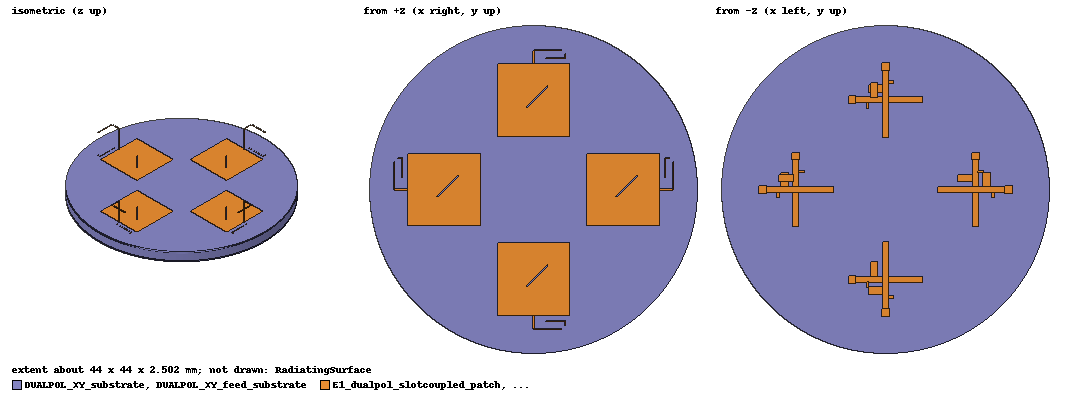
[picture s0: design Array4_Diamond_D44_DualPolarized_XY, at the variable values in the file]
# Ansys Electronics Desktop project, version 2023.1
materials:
  vacuum: permittivity=1
  RO4350B_custom_D44_Topology: permittivity=3.48 permeability=1 dielectric_loss_tangent=0.0037
  copper: permeability=0.999991 conductivity=58000000
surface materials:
  Steel-oxidised-surface

design Array4_Diamond_D44_DualPolarized_XY (HFSS, HFSS Modal Network, model units mm)
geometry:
  DUALPOL_XY_substrate [RO4350B_custom_D44_Topology] = cylinder(axis=Z, base_centre=(0mm, 0mm, 0mm), radius=22mm, height=2mm, segments=128)
  DUALPOL_XY_feed_substrate [RO4350B_custom_D44_Topology] = cylinder(axis=Z, base_centre=(0mm, 0mm, -0.254mm), radius=22mm, height=0.254mm, segments=128)
  DUALPOL_XY_bottom_ground [copper] = circle(normal=Z, centre=(0mm, 0mm, 0mm), radius=21.4mm, segments=128)
  ground_isolation_slot_1 = polyline(z=0mm, xy in mm: (2.7400388, 2.35113) (10.871767, 10.482858) (10.482858, 10.871767) (2.35113, 2.7400388) (2.7400388, 2.35113), closed, covered)
  ground_isolation_slot_2 = polyline(z=0mm, xy in mm: (-2.35113, 2.7400388) (-10.482858, 10.871767) (-10.871767, 10.482858) (-2.7400388, 2.35113) (-2.35113, 2.7400388), closed, covered)
  ground_isolation_slot_3 = polyline(z=0mm, xy in mm: (-2.7400388, -2.35113) (-10.871767, -10.482858) (-10.482858, -10.871767) (-2.35113, -2.7400388) (-2.7400388, -2.35113), closed, covered)
  ground_isolation_slot_4 = polyline(z=0mm, xy in mm: (2.35113, -2.7400388) (10.482858, -10.871767) (10.871767, -10.482858) (2.7400388, -2.35113) (2.35113, -2.7400388), closed, covered)
  E1_dualpol_slotcoupled_patch [copper] = polyline(z=2mm, xy in mm: (7.1458153, -4.875) (16.895815, -4.875) (16.895815, 4.875) (7.1458153, 4.875) (7.1458153, -4.875), closed, covered)
  E1_slotcoupled_patch_decoupling_slit = polyline(z=2mm, xy in mm: (11.099028, -1.00664) (13.927455, 1.8217872) (13.842602, 1.90664) (11.014175, -0.92178716) (11.099028, -1.00664), closed, covered)
  E1_dualpol_slotcoupled_patch.subtract(E1_slotcoupled_patch_decoupling_slit)
  E1_slotcoupled_folded_edge_riser [copper] = polyline(x=16.835815mm, yz in mm: (-0.1, 2) (0.1, 2) (0.1, 6.8) (-0.1, 6.8) (-0.1, 2), closed, covered)
  E1_slotcoupled_folded_edge_radial_arm [copper] = polyline(z=6.8mm, xy in mm: (16.835815, -0.1) (18.695815, -0.1) (18.695815, 0.1) (16.835815, 0.1) (16.835815, -0.1), closed, covered)
  E1_slotcoupled_folded_edge_tangent_arm [copper] = polyline(z=6.8mm, xy in mm: (18.595815, 0) (18.795815, 0) (18.795815, 3.8) (18.595815, 3.8) (18.595815, 0), closed, covered)
  E1_slotcoupled_a_aperture = polyline(z=0mm, xy in mm: (11.670815, -2.8) (12.370815, -2.8) (12.370815, 2.8) (11.670815, 2.8) (11.670815, -2.8), closed, covered)
  E1_slotcoupled_b_aperture = polyline(z=0mm, xy in mm: (9.2208153, -0.35) (14.820815, -0.35) (14.820815, 0.35) (9.2208153, 0.35) (9.2208153, -0.35), closed, covered)
  E1_slotcoupled_a_underside_feedline [copper] = polyline(z=-0.254mm, xy in mm: (7.0208153, -0.4) (17.020815, -0.4) (17.020815, 0.4) (7.0208153, 0.4) (7.0208153, -0.4), closed, covered)
  E1_slotcoupled_b_underside_feedline [copper] = polyline(z=-0.254mm, xy in mm: (11.620815, -5) (12.420815, -5) (12.420815, 5) (11.620815, 5) (11.620815, -5), closed, covered)
  E1_slotcoupled_a_port_step [copper] = polyline(z=-0.254mm, xy in mm: (16.020815, -0.55) (17.020815, -0.55) (17.020815, 0.55) (16.020815, 0.55) (16.020815, -0.55), closed, covered)
  E1_slotcoupled_b_port_step [copper] = polyline(z=-0.254mm, xy in mm: (11.470815, 4) (12.570815, 4) (12.570815, 5) (11.470815, 5) (11.470815, 4), closed, covered)
  E1_slotcoupled_a_open_stub [copper] = polyline(z=-0.254mm, xy in mm: (13.070815, 0.37) (14.070815, 0.37) (14.070815, 2.3) (13.070815, 2.3) (13.070815, 0.37), closed, covered)
  E1_slotcoupled_b_open_stub [copper] = polyline(z=-0.254mm, xy in mm: (12.390815, 1.05) (14.320815, 1.05) (14.320815, 2.05) (12.390815, 2.05) (12.390815, 1.05), closed, covered)
  E1_slotcoupled_a_open_stub2 [copper] = polyline(z=-0.254mm, xy in mm: (14.270815, -1.1) (14.570815, -1.1) (14.570815, -0.37) (14.270815, -0.37) (14.270815, -1.1), closed, covered)
  E1_slotcoupled_b_open_stub2 [copper] = polyline(z=-0.254mm, xy in mm: (10.920815, 2.25) (11.650815, 2.25) (11.650815, 2.55) (10.920815, 2.55) (10.920815, 2.25), closed, covered)
  P1A_switch_off_load_sheet = polyline(x=17.020815mm, yz in mm: (-0.25, -0.254) (0.25, -0.254) (0.25, 0) (-0.25, 0) (-0.25, -0.254), closed, covered)
  P1B_lumped_port_sheet = polyline(y=5mm, xz in mm: (11.770815, -0.254) (12.270815, -0.254) (12.270815, 0) (11.770815, 0) (11.770815, -0.254), closed, covered)
  E1_board_edge_fed_monopole_wall [copper] = polyline(x=17.695815mm, yz in mm: (-0.12, 2) (0.12, 2) (0.12, 6.8) (-0.12, 6.8) (-0.12, 2), closed, covered)
  E1_board_edge_fed_l_feed_neck [copper] = polyline(z=2mm, xy in mm: (17.655815, 0) (17.735815, 0) (17.735815, 1.6) (17.655815, 1.6) (17.655815, 0), closed, covered)
  P1L_lumped_port_sheet = polyline(x=17.695815mm, yz in mm: (1.35, 0) (1.85, 0) (1.85, 2) (1.35, 2) (1.35, 0), closed, covered)
  E1_board_edge_fed_l_match_stub [copper] = polyline(z=2mm, xy in mm: (17.625815, 1.6) (17.765815, 1.6) (17.765815, 4.2) (17.625815, 4.2) (17.625815, 1.6), closed, covered)
  E1_board_edge_fed_l_match_fold [copper] = polyline(z=2mm, xy in mm: (17.635815, 4.14) (18.295815, 4.14) (18.295815, 4.26) (17.635815, 4.26) (17.635815, 4.14), closed, covered)
  E2_dualpol_slotcoupled_patch [copper] = polyline(z=2mm, xy in mm: (-4.875, 7.1458153) (4.875, 7.1458153) (4.875, 16.895815) (-4.875, 16.895815) (-4.875, 7.1458153), closed, covered)
  E2_slotcoupled_patch_decoupling_slit = polyline(z=2mm, xy in mm: (-0.92178716, 11.014175) (1.90664, 13.842602) (1.8217872, 13.927455) (-1.00664, 11.099028) (-0.92178716, 11.014175), closed, covered)
  E2_dualpol_slotcoupled_patch.subtract(E2_slotcoupled_patch_decoupling_slit)
  E2_slotcoupled_folded_edge_riser [copper] = polyline(y=16.835815mm, xz in mm: (-0.1, 2) (0.1, 2) (0.1, 6.8) (-0.1, 6.8) (-0.1, 2), closed, covered)
  E2_slotcoupled_folded_edge_radial_arm [copper] = polyline(z=6.8mm, xy in mm: (-0.1, 16.835815) (0.1, 16.835815) (0.1, 18.695815) (-0.1, 18.695815) (-0.1, 16.835815), closed, covered)
  E2_slotcoupled_folded_edge_tangent_arm [copper] = polyline(z=6.8mm, xy in mm: (7.3606265e-16, 18.595815) (3.8, 18.595815) (3.8, 18.795815) (7.3606265e-16, 18.795815) (7.3606265e-16, 18.595815), closed, covered)
  E2_slotcoupled_a_aperture = polyline(z=0mm, xy in mm: (-0.35, 9.2208153) (0.35, 9.2208153) (0.35, 14.820815) (-0.35, 14.820815) (-0.35, 9.2208153), closed, covered)
  E2_slotcoupled_b_aperture = polyline(z=0mm, xy in mm: (-2.8, 11.670815) (2.8, 11.670815) (2.8, 12.370815) (-2.8, 12.370815) (-2.8, 11.670815), closed, covered)
  E2_slotcoupled_a_underside_feedline [copper] = polyline(z=-0.254mm, xy in mm: (-5, 11.620815) (5, 11.620815) (5, 12.420815) (-5, 12.420815) (-5, 11.620815), closed, covered)
  E2_slotcoupled_b_underside_feedline [copper] = polyline(z=-0.254mm, xy in mm: (-0.4, 7.0208153) (0.4, 7.0208153) (0.4, 17.020815) (-0.4, 17.020815) (-0.4, 7.0208153), closed, covered)
  E2_slotcoupled_a_port_step [copper] = polyline(z=-0.254mm, xy in mm: (4, 11.470815) (5, 11.470815) (5, 12.570815) (4, 12.570815) (4, 11.470815), closed, covered)
  E2_slotcoupled_b_port_step [copper] = polyline(z=-0.254mm, xy in mm: (-0.55, 16.020815) (0.55, 16.020815) (0.55, 17.020815) (-0.55, 17.020815) (-0.55, 16.020815), closed, covered)
  E2_slotcoupled_a_open_stub [copper] = polyline(z=-0.254mm, xy in mm: (1.05, 12.390815) (2.05, 12.390815) (2.05, 14.320815) (1.05, 14.320815) (1.05, 12.390815), closed, covered)
  E2_slotcoupled_b_open_stub [copper] = polyline(z=-0.254mm, xy in mm: (0.37, 13.070815) (2.3, 13.070815) (2.3, 14.070815) (0.37, 14.070815) (0.37, 13.070815), closed, covered)
  E2_slotcoupled_a_open_stub2 [copper] = polyline(z=-0.254mm, xy in mm: (2.25, 10.920815) (2.55, 10.920815) (2.55, 11.650815) (2.25, 11.650815) (2.25, 10.920815), closed, covered)
  E2_slotcoupled_b_open_stub2 [copper] = polyline(z=-0.254mm, xy in mm: (-1.1, 14.270815) (-0.37, 14.270815) (-0.37, 14.570815) (-1.1, 14.570815) (-1.1, 14.270815), closed, covered)
  P2A_switch_off_load_sheet = polyline(x=5mm, yz in mm: (11.770815, -0.254) (12.270815, -0.254) (12.270815, 0) (11.770815, 0) (11.770815, -0.254), closed, covered)
  P2B_lumped_port_sheet = polyline(y=17.020815mm, xz in mm: (-0.25, -0.254) (0.25, -0.254) (0.25, 0) (-0.25, 0) (-0.25, -0.254), closed, covered)
  E2_board_edge_fed_monopole_wall [copper] = polyline(y=17.695815mm, xz in mm: (-0.12, 2) (0.12, 2) (0.12, 6.8) (-0.12, 6.8) (-0.12, 2), closed, covered)
  E2_board_edge_fed_l_feed_neck [copper] = polyline(z=2mm, xy in mm: (7.3606265e-16, 17.655815) (1.6, 17.655815) (1.6, 17.735815) (7.3606265e-16, 17.735815) (7.3606265e-16, 17.655815), closed, covered)
  P2L_lumped_port_sheet = polyline(y=17.695815mm, xz in mm: (1.35, 0) (1.85, 0) (1.85, 2) (1.35, 2) (1.35, 0), closed, covered)
  E2_board_edge_fed_l_match_stub [copper] = polyline(z=2mm, xy in mm: (1.6, 17.625815) (4.2, 17.625815) (4.2, 17.765815) (1.6, 17.765815) (1.6, 17.625815), closed, covered)
  E2_board_edge_fed_l_match_fold [copper] = polyline(z=2mm, xy in mm: (4.14, 17.635815) (4.26, 17.635815) (4.26, 18.295815) (4.14, 18.295815) (4.14, 17.635815), closed, covered)
  E3_dualpol_slotcoupled_patch [copper] = polyline(z=2mm, xy in mm: (-16.895815, -4.875) (-7.1458153, -4.875) (-7.1458153, 4.875) (-16.895815, 4.875) (-16.895815, -4.875), closed, covered)
  E3_slotcoupled_patch_decoupling_slit = polyline(z=2mm, xy in mm: (-12.942602, -1.00664) (-10.114175, 1.8217872) (-10.199028, 1.90664) (-13.027455, -0.92178716) (-12.942602, -1.00664), closed, covered)
  E3_dualpol_slotcoupled_patch.subtract(E3_slotcoupled_patch_decoupling_slit)
  E3_slotcoupled_folded_edge_riser [copper] = polyline(x=-16.835815mm, yz in mm: (-0.1, 2) (0.1, 2) (0.1, 6.8) (-0.1, 6.8) (-0.1, 2), closed, covered)
  E3_slotcoupled_folded_edge_radial_arm [copper] = polyline(z=6.8mm, xy in mm: (-18.695815, -0.1) (-16.835815, -0.1) (-16.835815, 0.1) (-18.695815, 0.1) (-18.695815, -0.1), closed, covered)
  E3_slotcoupled_folded_edge_tangent_arm [copper] = polyline(z=6.8mm, xy in mm: (-18.795815, 1.4721253e-15) (-18.595815, 1.4721253e-15) (-18.595815, 3.8) (-18.795815, 3.8) (-18.795815, 1.4721253e-15), closed, covered)
  E3_slotcoupled_a_aperture = polyline(z=0mm, xy in mm: (-12.370815, -2.8) (-11.670815, -2.8) (-11.670815, 2.8) (-12.370815, 2.8) (-12.370815, -2.8), closed, covered)
  E3_slotcoupled_b_aperture = polyline(z=0mm, xy in mm: (-14.820815, -0.35) (-9.2208153, -0.35) (-9.2208153, 0.35) (-14.820815, 0.35) (-14.820815, -0.35), closed, covered)
  E3_slotcoupled_a_underside_feedline [copper] = polyline(z=-0.254mm, xy in mm: (-17.020815, -0.4) (-7.0208153, -0.4) (-7.0208153, 0.4) (-17.020815, 0.4) (-17.020815, -0.4), closed, covered)
  E3_slotcoupled_b_underside_feedline [copper] = polyline(z=-0.254mm, xy in mm: (-12.420815, -5) (-11.620815, -5) (-11.620815, 5) (-12.420815, 5) (-12.420815, -5), closed, covered)
  E3_slotcoupled_a_port_step [copper] = polyline(z=-0.254mm, xy in mm: (-17.020815, -0.55) (-16.020815, -0.55) (-16.020815, 0.55) (-17.020815, 0.55) (-17.020815, -0.55), closed, covered)
  E3_slotcoupled_b_port_step [copper] = polyline(z=-0.254mm, xy in mm: (-12.570815, 4) (-11.470815, 4) (-11.470815, 5) (-12.570815, 5) (-12.570815, 4), closed, covered)
  E3_slotcoupled_a_open_stub [copper] = polyline(z=-0.254mm, xy in mm: (-14.070815, 0.37) (-13.070815, 0.37) (-13.070815, 2.3) (-14.070815, 2.3) (-14.070815, 0.37), closed, covered)
  E3_slotcoupled_b_open_stub [copper] = polyline(z=-0.254mm, xy in mm: (-11.650815, 1.05) (-9.7208153, 1.05) (-9.7208153, 2.05) (-11.650815, 2.05) (-11.650815, 1.05), closed, covered)
  E3_slotcoupled_a_open_stub2 [copper] = polyline(z=-0.254mm, xy in mm: (-14.570815, -1.1) (-14.270815, -1.1) (-14.270815, -0.37) (-14.570815, -0.37) (-14.570815, -1.1), closed, covered)
  E3_slotcoupled_b_open_stub2 [copper] = polyline(z=-0.254mm, xy in mm: (-13.120815, 2.25) (-12.390815, 2.25) (-12.390815, 2.55) (-13.120815, 2.55) (-13.120815, 2.25), closed, covered)
  P3A_switch_off_load_sheet = polyline(x=-17.020815mm, yz in mm: (-0.25, -0.254) (0.25, -0.254) (0.25, 0) (-0.25, 0) (-0.25, -0.254), closed, covered)
  P3B_lumped_port_sheet = polyline(y=5mm, xz in mm: (-12.270815, -0.254) (-11.770815, -0.254) (-11.770815, 0) (-12.270815, 0) (-12.270815, -0.254), closed, covered)
  E3_board_edge_fed_monopole_wall [copper] = polyline(x=-17.695815mm, yz in mm: (-0.12, 2) (0.12, 2) (0.12, 6.8) (-0.12, 6.8) (-0.12, 2), closed, covered)
  E3_board_edge_fed_l_feed_neck [copper] = polyline(z=2mm, xy in mm: (-17.735815, 1.4721253e-15) (-17.655815, 1.4721253e-15) (-17.655815, 1.6) (-17.735815, 1.6) (-17.735815, 1.4721253e-15), closed, covered)
  P3L_lumped_port_sheet = polyline(x=-17.695815mm, yz in mm: (1.35, 0) (1.85, 0) (1.85, 2) (1.35, 2) (1.35, 0), closed, covered)
  E3_board_edge_fed_l_match_stub [copper] = polyline(z=2mm, xy in mm: (-17.765815, 1.6) (-17.625815, 1.6) (-17.625815, 4.2) (-17.765815, 4.2) (-17.765815, 1.6), closed, covered)
  E3_board_edge_fed_l_match_fold [copper] = polyline(z=2mm, xy in mm: (-18.295815, 4.14) (-17.635815, 4.14) (-17.635815, 4.26) (-18.295815, 4.26) (-18.295815, 4.14), closed, covered)
  E4_dualpol_slotcoupled_patch [copper] = polyline(z=2mm, xy in mm: (-4.875, -16.895815) (4.875, -16.895815) (4.875, -7.1458153) (-4.875, -7.1458153) (-4.875, -16.895815), closed, covered)
  E4_slotcoupled_patch_decoupling_slit = polyline(z=2mm, xy in mm: (-0.92178716, -13.027455) (1.90664, -10.199028) (1.8217872, -10.114175) (-1.00664, -12.942602) (-0.92178716, -13.027455), closed, covered)
  E4_dualpol_slotcoupled_patch.subtract(E4_slotcoupled_patch_decoupling_slit)
  E4_slotcoupled_folded_edge_riser [copper] = polyline(y=-16.835815mm, xz in mm: (-0.1, 2) (0.1, 2) (0.1, 6.8) (-0.1, 6.8) (-0.1, 2), closed, covered)
  E4_slotcoupled_folded_edge_radial_arm [copper] = polyline(z=6.8mm, xy in mm: (-0.1, -18.695815) (0.1, -18.695815) (0.1, -16.835815) (-0.1, -16.835815) (-0.1, -18.695815), closed, covered)
  E4_slotcoupled_folded_edge_tangent_arm [copper] = polyline(z=6.8mm, xy in mm: (-2.2081879e-15, -18.795815) (3.8, -18.795815) (3.8, -18.595815) (-2.2081879e-15, -18.595815) (-2.2081879e-15, -18.795815), closed, covered)
  E4_slotcoupled_a_aperture = polyline(z=0mm, xy in mm: (-0.35, -14.820815) (0.35, -14.820815) (0.35, -9.2208153) (-0.35, -9.2208153) (-0.35, -14.820815), closed, covered)
  E4_slotcoupled_b_aperture = polyline(z=0mm, xy in mm: (-2.8, -12.370815) (2.8, -12.370815) (2.8, -11.670815) (-2.8, -11.670815) (-2.8, -12.370815), closed, covered)
  E4_slotcoupled_a_underside_feedline [copper] = polyline(z=-0.254mm, xy in mm: (-5, -12.420815) (5, -12.420815) (5, -11.620815) (-5, -11.620815) (-5, -12.420815), closed, covered)
  E4_slotcoupled_b_underside_feedline [copper] = polyline(z=-0.254mm, xy in mm: (-0.4, -17.020815) (0.4, -17.020815) (0.4, -7.0208153) (-0.4, -7.0208153) (-0.4, -17.020815), closed, covered)
  E4_slotcoupled_a_port_step [copper] = polyline(z=-0.254mm, xy in mm: (4, -12.570815) (5, -12.570815) (5, -11.470815) (4, -11.470815) (4, -12.570815), closed, covered)
  E4_slotcoupled_b_port_step [copper] = polyline(z=-0.254mm, xy in mm: (-0.55, -17.020815) (0.55, -17.020815) (0.55, -16.020815) (-0.55, -16.020815) (-0.55, -17.020815), closed, covered)
  E4_slotcoupled_a_open_stub [copper] = polyline(z=-0.254mm, xy in mm: (1.05, -11.650815) (2.05, -11.650815) (2.05, -9.7208153) (1.05, -9.7208153) (1.05, -11.650815), closed, covered)
  E4_slotcoupled_b_open_stub [copper] = polyline(z=-0.254mm, xy in mm: (0.37, -14.070815) (2.3, -14.070815) (2.3, -13.070815) (0.37, -13.070815) (0.37, -14.070815), closed, covered)
  E4_slotcoupled_a_open_stub2 [copper] = polyline(z=-0.254mm, xy in mm: (2.25, -13.120815) (2.55, -13.120815) (2.55, -12.390815) (2.25, -12.390815) (2.25, -13.120815), closed, covered)
  E4_slotcoupled_b_open_stub2 [copper] = polyline(z=-0.254mm, xy in mm: (-1.1, -14.570815) (-0.37, -14.570815) (-0.37, -14.270815) (-1.1, -14.270815) (-1.1, -14.570815), closed, covered)
  P4A_switch_off_load_sheet = polyline(x=5mm, yz in mm: (-12.270815, -0.254) (-11.770815, -0.254) (-11.770815, 0) (-12.270815, 0) (-12.270815, -0.254), closed, covered)
  P4B_lumped_port_sheet = polyline(y=-17.020815mm, xz in mm: (-0.25, -0.254) (0.25, -0.254) (0.25, 0) (-0.25, 0) (-0.25, -0.254), closed, covered)
  E4_board_edge_fed_monopole_wall [copper] = polyline(y=-17.695815mm, xz in mm: (-0.12, 2) (0.12, 2) (0.12, 6.8) (-0.12, 6.8) (-0.12, 2), closed, covered)
  E4_board_edge_fed_l_feed_neck [copper] = polyline(z=2mm, xy in mm: (-2.2081879e-15, -17.735815) (1.6, -17.735815) (1.6, -17.655815) (-2.2081879e-15, -17.655815) (-2.2081879e-15, -17.735815), closed, covered)
  P4L_lumped_port_sheet = polyline(y=-17.695815mm, xz in mm: (1.35, 0) (1.85, 0) (1.85, 2) (1.35, 2) (1.35, 0), closed, covered)
  E4_board_edge_fed_l_match_stub [copper] = polyline(z=2mm, xy in mm: (1.6, -17.765815) (4.2, -17.765815) (4.2, -17.625815) (1.6, -17.625815) (1.6, -17.765815), closed, covered)
  E4_board_edge_fed_l_match_fold [copper] = polyline(z=2mm, xy in mm: (4.14, -18.295815) (4.26, -18.295815) (4.26, -17.635815) (4.14, -17.635815) (4.14, -18.295815), closed, covered)
  DUALPOL_XY_bottom_ground.subtract(ground_isolation_slot_1..ground_isolation_slot_4, E1_slotcoupled_a_aperture, E1_slotcoupled_b_aperture, E2_slotcoupled_a_aperture, E2_slotcoupled_b_aperture, E3_slotcoupled_a_aperture, E3_slotcoupled_b_aperture, E4_slotcoupled_a_aperture, E4_slotcoupled_b_aperture)
  RadiatingSurface [vacuum] = region(absolute_offset=14.285714mm on all sides)
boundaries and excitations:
  P1A_switch_off_load: Lumped RLC Objects=P1A_switch_off_load_sheet CurrentLine{(17.020815, 0, 0) -> (17.020815, 0, -0.254)} RLC_Type=Parallel Resistance=50ohm Capacitance=8e-14f
  P2A_switch_off_load: Lumped RLC Objects=P2A_switch_off_load_sheet CurrentLine{(5, 12.020815, 0) -> (5, 12.020815, -0.254)} RLC_Type=Parallel Resistance=50ohm Capacitance=8e-14f
  P3A_switch_off_load: Lumped RLC Objects=P3A_switch_off_load_sheet CurrentLine{(-17.020815, 0, 0) -> (-17.020815, 0, -0.254)} RLC_Type=Parallel Resistance=50ohm Capacitance=8e-14f
  P4A_switch_off_load: Lumped RLC Objects=P4A_switch_off_load_sheet CurrentLine{(5, -12.020815, 0) -> (5, -12.020815, -0.254)} RLC_Type=Parallel Resistance=50ohm Capacitance=8e-14f
  DUALPOL_XY_PEC_metallization: Perfect E Objects=[DUALPOL_XY_bottom_ground, E1_dualpol_slotcoupled_patch, E1_slotcoupled_folded_edge_riser, E1_slotcoupled_folded_edge_radial_arm, E1_slotcoupled_folded_edge_tangent_arm, E1_slotcoupled_a_underside_feedline, E1_slotcoupled_b_underside_feedline, E1_slotcoupled_a_port_step, E1_slotcoupled_b_port_step, E1_slotcoupled_a_open_stub, E1_slotcoupled_b_open_stub, E1_slotcoupled_a_open_stub2, E1_slotcoupled_b_open_stub2, E1_board_edge_fed_monopole_wall, E1_board_edge_fed_l_feed_neck, E1_board_edge_fed_l_match_stub, E1_board_edge_fed_l_match_fold, E2_dualpol_slotcoupled_patch, E2_slotcoupled_folded_edge_riser, E2_slotcoupled_folded_edge_radial_arm, E2_slotcoupled_folded_edge_tangent_arm, E2_slotcoupled_a_underside_feedline, E2_slotcoupled_b_underside_feedline, E2_slotcoupled_a_port_step, E2_slotcoupled_b_port_step, E2_slotcoupled_a_open_stub, E2_slotcoupled_b_open_stub, E2_slotcoupled_a_open_stub2, E2_slotcoupled_b_open_stub2, E2_board_edge_fed_monopole_wall, E2_board_edge_fed_l_feed_neck, E2_board_edge_fed_l_match_stub, E2_board_edge_fed_l_match_fold, E3_dualpol_slotcoupled_patch, E3_slotcoupled_folded_edge_riser, E3_slotcoupled_folded_edge_radial_arm, E3_slotcoupled_folded_edge_tangent_arm, E3_slotcoupled_a_underside_feedline, E3_slotcoupled_b_underside_feedline, E3_slotcoupled_a_port_step, E3_slotcoupled_b_port_step, E3_slotcoupled_a_open_stub, E3_slotcoupled_b_open_stub, E3_slotcoupled_a_open_stub2, E3_slotcoupled_b_open_stub2, E3_board_edge_fed_monopole_wall, E3_board_edge_fed_l_feed_neck, E3_board_edge_fed_l_match_stub, E3_board_edge_fed_l_match_fold, E4_dualpol_slotcoupled_patch, E4_slotcoupled_folded_edge_riser, E4_slotcoupled_folded_edge_radial_arm, E4_slotcoupled_folded_edge_tangent_arm, E4_slotcoupled_a_underside_feedline, E4_slotcoupled_b_underside_feedline, E4_slotcoupled_a_port_step, E4_slotcoupled_b_port_step, E4_slotcoupled_a_open_stub, E4_slotcoupled_b_open_stub, E4_slotcoupled_a_open_stub2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]
  Open1: Radiation Objects=RadiatingSurface
  P1B: Lumped Port Objects=P1B_lumped_port_sheet LumpedPortType=Modal Modes{Mode1{IntLine{(12.020815, 5, 0) -> (12.020815, 5, -0.254)} CharImp=Zpi RenormImp=50ohm}} Impedance=50ohm
  P1L: Lumped Port Objects=P1L_lumped_port_sheet LumpedPortType=Modal Modes{Mode1{IntLine{(17.695815, 1.6, 2) -> (17.695815, 1.6, 0)} CharImp=Zpi RenormImp=50ohm}} Impedance=50ohm
  P2B: Lumped Port Objects=P2B_lumped_port_sheet LumpedPortType=Modal Modes{Mode1{IntLine{(0, 17.020815, 0) -> (0, 17.020815, -0.254)} CharImp=Zpi RenormImp=50ohm}} Impedance=50ohm
  P2L: Lumped Port Objects=P2L_lumped_port_sheet LumpedPortType=Modal Modes{Mode1{IntLine{(1.6, 17.695815, 2) -> (1.6, 17.695815, 0)} CharImp=Zpi RenormImp=50ohm}} Impedance=50ohm
  P3B: Lumped Port Objects=P3B_lumped_port_sheet LumpedPortType=Modal Modes{Mode1{IntLine{(-12.020815, 5, 0) -> (-12.020815, 5, -0.254)} CharImp=Zpi RenormImp=50ohm}} Impedance=50ohm
  P3L: Lumped Port Objects=P3L_lumped_port_sheet LumpedPortType=Modal Modes{Mode1{IntLine{(-17.695815, 1.6, 2) -> (-17.695815, 1.6, 0)} CharImp=Zpi RenormImp=50ohm}} Impedance=50ohm
  P4B: Lumped Port Objects=P4B_lumped_port_sheet LumpedPortType=Modal Modes{Mode1{IntLine{(0, -17.020815, 0) -> (0, -17.020815, -0.254)} CharImp=Zpi RenormImp=50ohm}} Impedance=50ohm
  P4L: Lumped Port Objects=P4L_lumped_port_sheet LumpedPortType=Modal Modes{Mode1{IntLine{(1.6, -17.695815, 2) -> (1.6, -17.695815, 0)} CharImp=Zpi RenormImp=50ohm}} Impedance=50ohm
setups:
  Setup_CH9: HfssDriven Frequency=8GHz MaxDeltaS=0.05 MaximumPasses=4 MinimumPasses=1 MinimumConvergedPasses=1 PercentRefinement=30 BasisOrder=1 PortAccuracy=2 DrivenSolverType="Direct Solver"
    sweep Sweep_CH9: point 8GHz; SaveSingleField Type=Discrete SaveFields SaveRadFields
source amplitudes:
  P1B:1: 1W 0deg
  P1L:1, P2B:1, P2L:1, P3B:1, P3L:1, P4B:1, P4L:1: 0W 0deg
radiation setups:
  3D: Infinite Sphere Theta=0deg..180deg step 2deg Phi=-180deg..180deg step 2deg
  Elevation: Infinite Sphere Theta=-180deg..180deg step 1deg Phi=0deg..90deg step 90deg
  Azimuth: Infinite Sphere Theta=90deg..90deg step 0deg Phi=-180deg..180deg step 1deg
  Upper_Hemisphere_5deg: Infinite Sphere Theta=0deg..360deg step 5deg Phi=0deg..90deg step 5deg
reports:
  DUALPOL_XY_S_Parameters: dB(S(P3B:1,P3B:1)), dB(S(P2L:1,P2L:1)), dB(S(P1L:1,P1L:1)), dB(S(P4B:1,P4B:1)), dB(S(P2B:1,P2B:1)), dB(S(P4L:1,P4L:1)), dB(S(P1B:1,P1B:1)), dB(S(P3L:1,P3L:1)), dB(S(P3B:1,P2L:1)), dB(S(P3B:1,P1L:1)), dB(S(P3B:1,P4B:1)), dB(S(P3B:1,P2B:1)), dB(S(P3B:1,P4L:1)), dB(S(P3B:1,P1B:1)), dB(S(P3B:1,P3L:1)), dB(S(P2L:1,P3B:1)), dB(S(P2L:1,P1L:1)), dB(S(P2L:1,P4B:1)), dB(S(P2L:1,P2B:1)), dB(S(P2L:1,P4L:1)), dB(S(P2L:1,P1B:1)), dB(S(P2L:1,P3L:1)), dB(S(P1L:1,P3B:1)), dB(S(P1L:1,P2L:1)), dB(S(P1L:1,P4B:1)), dB(S(P1L:1,P2B:1)), dB(S(P1L:1,P4L:1)), dB(S(P1L:1,P1B:1)), dB(S(P1L:1,P3L:1)), dB(S(P4B:1,P3B:1)), dB(S(P4B:1,P2L:1)), dB(S(P4B:1,P1L:1)), dB(S(P4B:1,P2B:1)), dB(S(P4B:1,P4L:1)), dB(S(P4B:1,P1B:1)), dB(S(P4B:1,P3L:1)), dB(S(P2B:1,P3B:1)), dB(S(P2B:1,P2L:1)), dB(S(P2B:1,P1L:1)), dB(S(P2B:1,P4B:1))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 vs Freq on Setup_CH9 : Sweep_CH9
  DUALPOL_XY_GainTotal_8GHz: dB(GainTotal) vs Phi, Theta on Setup_CH9 : Sweep_CH9, Upper_Hemisphere_5deg [Freq=8GHz]
  DUALPOL_XY_AxialRatio_8GHz: AxialRatioValue vs Phi, Theta on Setup_CH9 : Sweep_CH9, Upper_Hemisphere_5deg [Freq=8GHz]
